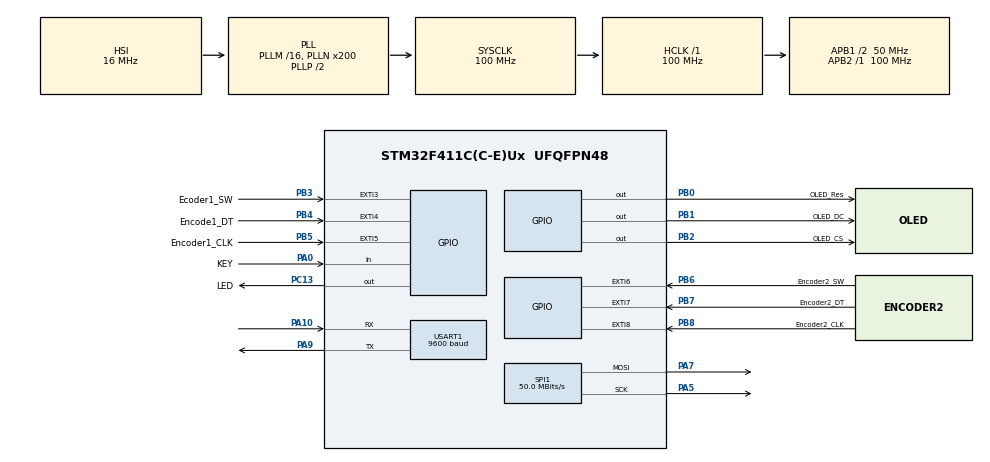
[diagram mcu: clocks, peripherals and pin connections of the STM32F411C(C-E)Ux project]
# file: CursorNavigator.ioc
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Mcu.Family=STM32F4
Mcu.Name=STM32F411C(C-E)Ux
Mcu.Package=UFQFPN48
NVIC.PriorityGroup=NVIC_PRIORITYGROUP_4
NVIC.TIM3_IRQn=true\:0\:0\:false\:false\:true\:true\:true\:true
NVIC.USART1_IRQn=true\:0\:0\:false\:false\:true\:true\:true\:true
PA0-WKUP.GPIO_Label=KEY
PA0-WKUP.GPIO_PuPd=GPIO_PULLUP
PA0-WKUP.Signal=GPIO_Input
PA10.Mode=Asynchronous
PA10.Signal=USART1_RX
PA13.Mode=Serial_Wire
PA13.Signal=SYS_JTMS-SWDIO
PA14.Mode=Serial_Wire
PA14.Signal=SYS_JTCK-SWCLK
PA5.GPIO_PuPd=GPIO_PULLUP
PA5.Mode=TX_Only_Simplex_Unidirect_Master
PA5.Signal=SPI1_SCK
PA7.GPIO_PuPd=GPIO_PULLUP
PA7.Mode=TX_Only_Simplex_Unidirect_Master
PA7.Signal=SPI1_MOSI
PA9.Mode=Asynchronous
PA9.Signal=USART1_TX
PB0.GPIO_Label=OLED_Res
PB0.Signal=GPIO_Output
PB1.GPIO_Label=OLED_DC
PB1.Signal=GPIO_Output
PB2.GPIO_Label=OLED_CS
PB2.Signal=GPIO_Output
PB3.GPIO_Label=Ecoder1_SW
PB3.Signal=GPXTI3
PB4.GPIO_Label=Encode1_DT
PB4.Signal=GPXTI4
PB5.GPIO_Label=Encoder1_CLK
PB5.Signal=GPXTI5
PB6.GPIO_Label=Encoder2_SW
PB6.Signal=GPXTI6
PB7.GPIO_Label=Encoder2_DT
PB7.Signal=GPXTI7
PB8.GPIO_Label=Encoder2_CLK
PB8.Signal=GPXTI8
PC13-ANTI_TAMP.GPIO_Label=LED
PC13-ANTI_TAMP.Signal=GPIO_Output
PC14-OSC32_IN.Mode=LSE-External-Oscillator
PC14-OSC32_IN.Signal=RCC_OSC32_IN
PC15-OSC32_OUT.Mode=LSE-External-Oscillator
PC15-OSC32_OUT.Signal=RCC_OSC32_OUT
PH0\ -\ OSC_IN.Mode=HSE-External-Oscillator
PH0\ -\ OSC_IN.Signal=RCC_OSC_IN
PH1\ -\ OSC_OUT.Mode=HSE-External-Oscillator
PH1\ -\ OSC_OUT.Signal=RCC_OSC_OUT
ProjectManager.HeapSize=0x200
ProjectManager.StackSize=0x400
ProjectManager.TargetToolchain=STM32CubeIDE
RCC.48MHZClocksFreq_Value=50000000
RCC.AHBFreq_Value=100000000
RCC.APB1CLKDivider=RCC_HCLK_DIV2
RCC.APB1Freq_Value=50000000
RCC.APB1TimFreq_Value=100000000
RCC.APB2Freq_Value=100000000
RCC.APB2TimFreq_Value=100000000
RCC.CortexFreq_Value=100000000
RCC.HCLKFreq_Value=100000000
RCC.HSE_VALUE=25000000
RCC.HSI_VALUE=16000000
RCC.PLLN=200
RCC.SYSCLKFreq_VALUE=100000000
RCC.SYSCLKSource=RCC_SYSCLKSOURCE_PLLCLK
RCC.VCOOutputFreq_Value=200000000
SPI1.BaudRatePrescaler=SPI_BAUDRATEPRESCALER_2
SPI1.CLKPolarity=SPI_POLARITY_HIGH
SPI1.CalculateBaudRate=50.0 MBits/s
SPI1.Direction=SPI_DIRECTION_2LINES
SPI1.Mode=SPI_MODE_MASTER
SPI1.VirtualType=VM_MASTER
STMicroelectronics.X-CUBE-TOUCHGFX.4.21.1.ApplicationCcGraphicsJjApplication=TouchGFXOoGenerator
STMicroelectronics.X-CUBE-TOUCHGFX.4.21.1.tgfx_buffering_strategy=Double
STMicroelectronics.X-CUBE-TOUCHGFX.4.21.1.tgfx_custom_height=64
STMicroelectronics.X-CUBE-TOUCHGFX.4.21.1.tgfx_custom_width=128
STMicroelectronics.X-CUBE-TOUCHGFX.4.21.1.tgfx_pixel_format=BW\:1
STMicroelectronics.X-CUBE-TOUCHGFX.4.21.1_IsPackSelfContextualization=true
TIM3.Period=167
TIM3.Prescaler=10000
USART1.BaudRate=9600
USART1.VirtualMode=VM_ASYNC
VP_CRC_VS_CRC.Mode=CRC_Activate
VP_STMicroelectronics.X-CUBE-TOUCHGFX_VS_GraphicsJjApplication_4.21.1.Mode=GraphicsJjApplication
VP_TIM3_VS_ClockSourceINT.Mode=Internal
board=custom

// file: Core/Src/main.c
/* USER CODE BEGIN Header */
/**
  ******************************************************************************
  * @file           : main.c
  * @brief          : Main program body
  ******************************************************************************
  * @attention
  *
  * Copyright (c) 2023 STMicroelectronics.
  * All rights reserved.
  *
  * This software is licensed under terms that can be found in the LICENSE file
  * in the root directory of this software component.
  * If no LICENSE file comes with this software, it is provided AS-IS.
  *
  ******************************************************************************
  */
/* USER CODE END Header */
#include "main.h"
#include "app_touchgfx.h"

/* USER CODE BEGIN Includes */
#include <ssd1306.h>
/* USER CODE END Includes */

CRC_HandleTypeDef hcrc;

SPI_HandleTypeDef hspi1;

TIM_HandleTypeDef htim3;

UART_HandleTypeDef huart1;

void SystemClock_Config(void);
static void MX_GPIO_Init(void);
static void MX_SPI1_Init(void);
static void MX_USART1_UART_Init(void);
static void MX_CRC_Init(void);
static void MX_TIM3_Init(void);

int main(void)
{

  /* MCU Configuration--------------------------------------------------------*/

  /* Reset of all peripherals, Initializes the Flash interface and the Systick. */
  HAL_Init();

  /* Configure the system clock */
  SystemClock_Config();

  /* Initialize all configured peripherals */
  MX_GPIO_Init();
  MX_SPI1_Init();
  MX_USART1_UART_Init();
  MX_CRC_Init();
  MX_TIM3_Init();
  MX_TouchGFX_Init();
  /* USER CODE BEGIN 2 */
  ssd1306_Init();
  ssd1306_Fill(Black);
  ssd1306_SetCursor(2,2);
    ssd1306_WriteString("GPIO Initialized!", Font_6x8, White);
    ssd1306_UpdateScreen();
    HAL_Delay(500);
  ssd1306_SetCursor(2,11);
  ssd1306_WriteString("Display Started!", Font_6x8, White);
  ssd1306_UpdateScreen();
  HAL_Delay(500);
  ssd1306_SetCursor(2,20);
  ssd1306_WriteString("Initializing TouchGFX", Font_6x8, White);
  ssd1306_UpdateScreen();
  HAL_Delay(500);
  ssd1306_SetCursor(2,29);
  ssd1306_WriteString("TouchGFX Ready!", Font_6x8, White);
  ssd1306_UpdateScreen();
  HAL_Delay(2000);//For now, its a dalay, but no touchGFX code starts running until the next line.

  if (HAL_TIM_Base_Start_IT(&htim3) != HAL_OK)//Here is where hall is started
   {
     /* Starting Error */
     Error_Handler();
   }

  /* USER CODE END 2 */

  /* Infinite loop */
  while (1)
  {

  MX_TouchGFX_Process();
  }
}

void SystemClock_Config(void)
{
  RCC_OscInitTypeDef RCC_OscInitStruct = {0};
  RCC_ClkInitTypeDef RCC_ClkInitStruct = {0};

  /** Configure the main internal regulator output voltage
  */
  __HAL_RCC_PWR_CLK_ENABLE();
  __HAL_PWR_VOLTAGESCALING_CONFIG(PWR_REGULATOR_VOLTAGE_SCALE1);

  /** Initializes the RCC Oscillators according to the specified parameters
  * in the RCC_OscInitTypeDef structure.
  */
  RCC_OscInitStruct.OscillatorType = RCC_OSCILLATORTYPE_HSI;
  RCC_OscInitStruct.HSIState = RCC_HSI_ON;
  RCC_OscInitStruct.HSICalibrationValue = RCC_HSICALIBRATION_DEFAULT;
  RCC_OscInitStruct.PLL.PLLState = RCC_PLL_ON;
  RCC_OscInitStruct.PLL.PLLSource = RCC_PLLSOURCE_HSI;
  RCC_OscInitStruct.PLL.PLLM = 16;
  RCC_OscInitStruct.PLL.PLLN = 200;
  RCC_OscInitStruct.PLL.PLLP = RCC_PLLP_DIV2;
  RCC_OscInitStruct.PLL.PLLQ = 4;
  if (HAL_RCC_OscConfig(&RCC_OscInitStruct) != HAL_OK)
  {
    Error_Handler();
  }

  /** Initializes the CPU, AHB and APB buses clocks
  */
  RCC_ClkInitStruct.ClockType = RCC_CLOCKTYPE_HCLK|RCC_CLOCKTYPE_SYSCLK
                              |RCC_CLOCKTYPE_PCLK1|RCC_CLOCKTYPE_PCLK2;
  RCC_ClkInitStruct.SYSCLKSource = RCC_SYSCLKSOURCE_PLLCLK;
  RCC_ClkInitStruct.AHBCLKDivider = RCC_SYSCLK_DIV1;
  RCC_ClkInitStruct.APB1CLKDivider = RCC_HCLK_DIV2;
  RCC_ClkInitStruct.APB2CLKDivider = RCC_HCLK_DIV1;

  if (HAL_RCC_ClockConfig(&RCC_ClkInitStruct, FLASH_LATENCY_3) != HAL_OK)
  {
    Error_Handler();
  }
}

static void MX_CRC_Init(void)
{

  hcrc.Instance = CRC;
  if (HAL_CRC_Init(&hcrc) != HAL_OK)
  {
    Error_Handler();
  }

}

static void MX_SPI1_Init(void)
{

  /* SPI1 parameter configuration*/
  hspi1.Instance = SPI1;
  hspi1.Init.Mode = SPI_MODE_MASTER;
  hspi1.Init.Direction = SPI_DIRECTION_2LINES;
  hspi1.Init.DataSize = SPI_DATASIZE_8BIT;
  hspi1.Init.CLKPolarity = SPI_POLARITY_HIGH;
  hspi1.Init.CLKPhase = SPI_PHASE_1EDGE;
  hspi1.Init.NSS = SPI_NSS_SOFT;
  hspi1.Init.BaudRatePrescaler = SPI_BAUDRATEPRESCALER_2;
  hspi1.Init.FirstBit = SPI_FIRSTBIT_MSB;
  hspi1.Init.TIMode = SPI_TIMODE_DISABLE;
  hspi1.Init.CRCCalculation = SPI_CRCCALCULATION_DISABLE;
  hspi1.Init.CRCPolynomial = 10;
  if (HAL_SPI_Init(&hspi1) != HAL_OK)
  {
    Error_Handler();
  }

}

static void MX_TIM3_Init(void)
{

  TIM_ClockConfigTypeDef sClockSourceConfig = {0};
  TIM_MasterConfigTypeDef sMasterConfig = {0};

  htim3.Instance = TIM3;
  htim3.Init.Prescaler = 10000;
  htim3.Init.CounterMode = TIM_COUNTERMODE_UP;
  htim3.Init.Period = 167;
  htim3.Init.ClockDivision = TIM_CLOCKDIVISION_DIV1;
  htim3.Init.AutoReloadPreload = TIM_AUTORELOAD_PRELOAD_DISABLE;
  if (HAL_TIM_Base_Init(&htim3) != HAL_OK)
  {
    Error_Handler();
  }
  sClockSourceConfig.ClockSource = TIM_CLOCKSOURCE_INTERNAL;
  if (HAL_TIM_ConfigClockSource(&htim3, &sClockSourceConfig) != HAL_OK)
  {
    Error_Handler();
  }
  sMasterConfig.MasterOutputTrigger = TIM_TRGO_RESET;
  sMasterConfig.MasterSlaveMode = TIM_MASTERSLAVEMODE_DISABLE;
  if (HAL_TIMEx_MasterConfigSynchronization(&htim3, &sMasterConfig) != HAL_OK)
  {
    Error_Handler();
  }

}

static void MX_USART1_UART_Init(void)
{

  huart1.Instance = USART1;
  huart1.Init.BaudRate = 9600;
  huart1.Init.WordLength = UART_WORDLENGTH_8B;
  huart1.Init.StopBits = UART_STOPBITS_1;
  huart1.Init.Parity = UART_PARITY_NONE;
  huart1.Init.Mode = UART_MODE_TX_RX;
  huart1.Init.HwFlowCtl = UART_HWCONTROL_NONE;
  huart1.Init.OverSampling = UART_OVERSAMPLING_16;
  if (HAL_UART_Init(&huart1) != HAL_OK)
  {
    Error_Handler();
  }

}

static void MX_GPIO_Init(void)
{
  GPIO_InitTypeDef GPIO_InitStruct = {0};

  /* GPIO Ports Clock Enable */
  __HAL_RCC_GPIOC_CLK_ENABLE();
  __HAL_RCC_GPIOH_CLK_ENABLE();
  __HAL_RCC_GPIOA_CLK_ENABLE();
  __HAL_RCC_GPIOB_CLK_ENABLE();

  /*Configure GPIO pin Output Level */
  HAL_GPIO_WritePin(LED_GPIO_Port, LED_Pin, GPIO_PIN_RESET);

  /*Configure GPIO pin Output Level */
  HAL_GPIO_WritePin(GPIOB, OLED_Res_Pin|OLED_DC_Pin|OLED_CS_Pin, GPIO_PIN_RESET);

  /*Configure GPIO pin : LED_Pin */
  GPIO_InitStruct.Pin = LED_Pin;
  GPIO_InitStruct.Mode = GPIO_MODE_OUTPUT_PP;
  GPIO_InitStruct.Pull = GPIO_NOPULL;
  GPIO_InitStruct.Speed = GPIO_SPEED_FREQ_LOW;
  HAL_GPIO_Init(LED_GPIO_Port, &GPIO_InitStruct);

  /*Configure GPIO pin : KEY_Pin */
  GPIO_InitStruct.Pin = KEY_Pin;
  GPIO_InitStruct.Mode = GPIO_MODE_INPUT;
  GPIO_InitStruct.Pull = GPIO_PULLUP;
  HAL_GPIO_Init(KEY_GPIO_Port, &GPIO_InitStruct);

  /*Configure GPIO pins : OLED_Res_Pin OLED_DC_Pin OLED_CS_Pin */
  GPIO_InitStruct.Pin = OLED_Res_Pin|OLED_DC_Pin|OLED_CS_Pin;
  GPIO_InitStruct.Mode = GPIO_MODE_OUTPUT_PP;
  GPIO_InitStruct.Pull = GPIO_NOPULL;
  GPIO_InitStruct.Speed = GPIO_SPEED_FREQ_LOW;
  HAL_GPIO_Init(GPIOB, &GPIO_InitStruct);

  /*Configure GPIO pins : Ecoder1_SW_Pin Encode1_DT_Pin Encoder1_CLK_Pin Encoder2_SW_Pin
                           Encoder2_DT_Pin Encoder2_CLK_Pin */
  GPIO_InitStruct.Pin = Ecoder1_SW_Pin|Encode1_DT_Pin|Encoder1_CLK_Pin|Encoder2_SW_Pin
                          |Encoder2_DT_Pin|Encoder2_CLK_Pin;
  GPIO_InitStruct.Mode = GPIO_MODE_IT_RISING;
  GPIO_InitStruct.Pull = GPIO_NOPULL;
  HAL_GPIO_Init(GPIOB, &GPIO_InitStruct);

}

void Error_Handler(void)
{
  __disable_irq();
  while (1)
  {
  }
}
